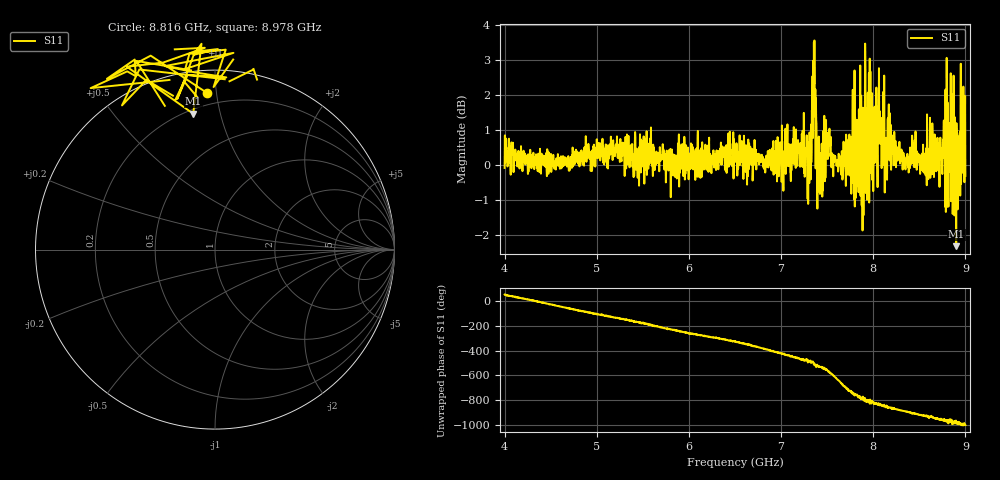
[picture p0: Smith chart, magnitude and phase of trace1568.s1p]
! Created with skrf 1.8.0 (http://scikit-rf.org).
# Hz S RI R 50.0
!freq ReS11 ImS11
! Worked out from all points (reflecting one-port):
!   1601 points, 4 GHz to 9 GHz, reference 50 ohm
!   lowest |S11| = -2.3 dB at 8.9 GHz (marker M1), VSWR 7.57, Z = 11.3 + j41.4 ohm
!   phase of S11 starts at 53 deg and turns -1054 deg over the sweep
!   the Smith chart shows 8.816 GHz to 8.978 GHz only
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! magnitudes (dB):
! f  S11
! 4 GHz  -0.1
! 4.625 GHz  0.0
! 5.25 GHz  0.1
! 5.875 GHz  0.3
! 6.5 GHz  0.5
! 6.825 GHz  0.2
! 7.125 GHz  0.6
! 7.306 GHz  -0.5
! 7.359 GHz  2.3
! 7.412 GHz  0.1
! 7.512 GHz  0.4
! 7.65 GHz  -0.2
! 7.75 GHz  0.1
! 7.816 GHz  0.2
! 7.847 GHz  1.2
! 7.881 GHz  0.4
! 7.928 GHz  1.4
! 7.997 GHz  1.1
! 8.05 GHz  1.7
! 8.147 GHz  0.4
! 8.178 GHz  1.5
! 8.375 GHz  0.0
! 8.769 GHz  0.2
! 8.816 GHz  -1.2
! 8.856 GHz  -0.4
! 8.9 GHz  -2.3
! 8.972 GHz  0.2
! 9 GHz  -0.3
